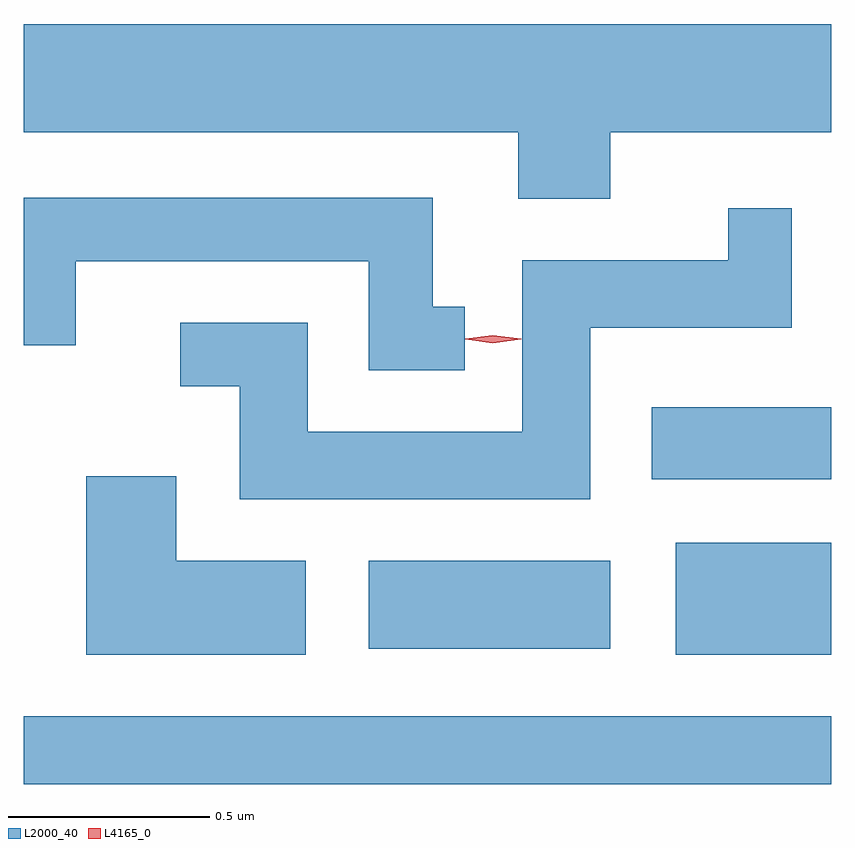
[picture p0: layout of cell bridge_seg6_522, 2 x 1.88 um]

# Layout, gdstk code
import gdstk
lib = gdstk.Library(unit=1e-6, precision=1e-09)
def R(c, l, rs):  # rectangles x0, y0, x1, y1
    for r in rs: c.add(gdstk.rectangle(r[:2], r[2:], *l))
def P(c, l, *ps):  # polygons
    for p in ps: c.add(gdstk.Polygon(p, *l))
L2000_40 = (2000, 40)
L4165_0 = (4165, 0)

bridge_seg6_522 = lib.new_cell('bridge_seg6_522')
R(bridge_seg6_522, L2000_40, [(878.606,1588.381,880.606,1588.549), (880.221,1588.701,880.606,1588.979), (879.461,1588.716,880.059,1588.934), (880.161,1589.136,880.606,1589.314)])
P(bridge_seg6_522, L2000_40, [(880.059,1589.996),(880.606,1589.996),(880.606,1590.264),(878.606,1590.264),(878.606,1589.996),(879.831,1589.996),(879.831,1589.831),(880.059,1589.831)],
  [(879.698,1589.564),(879.619,1589.564),(879.619,1589.834),(878.606,1589.834),(878.606,1589.468),(878.734,1589.468),(878.734,1589.676),(879.461,1589.676),(879.461,1589.406),(879.698,1589.406)],
  [(880.009,1589.511),(880.509,1589.511),(880.509,1589.808),(880.351,1589.808),(880.351,1589.679),(879.841,1589.679),(879.841,1589.254),(879.309,1589.254),(879.309,1589.524),(878.993,1589.524),(878.993,1589.366),(879.141,1589.366),(879.141,1589.086),(880.009,1589.086)],
  [(879.304,1588.934),(878.984,1588.934),(878.984,1589.144),(878.761,1589.144),(878.761,1588.701),(879.304,1588.701)])
P(bridge_seg6_522, L4165_0, [(879.768,1589.473),(879.699,1589.483),(879.699,1589.483),(879.699,1589.484),(879.768,1589.493),(879.838,1589.484),(879.838,1589.483),(879.838,1589.483)])

lib.write_gds('bridge_seg6_522.gds')
